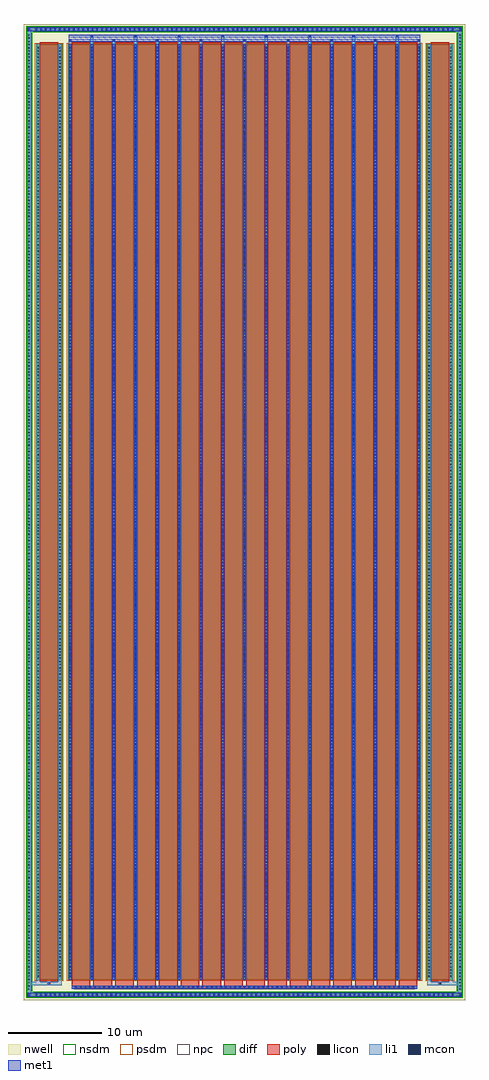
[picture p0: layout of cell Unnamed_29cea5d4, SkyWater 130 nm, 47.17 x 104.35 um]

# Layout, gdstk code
import gdstk
lib = gdstk.Library(unit=1e-6, precision=5e-09)
def R(c, l, rs):  # rectangles x0, y0, x1, y1
    for r in rs: c.add(gdstk.rectangle(r[:2], r[2:], *l))
def A(c, l, x, y, w, h, nx, ny, dx, dy):  # array of equal rectangles
    R(c, l, [(x+i*dx, y+j*dy, x+i*dx+w, y+j*dy+h) for i in range(nx) for j in range(ny)])
def P(c, l, *ps):  # polygons
    for p in ps: c.add(gdstk.Polygon(p, *l))
nwell = (64, 20)
diff = (65, 20)
poly = (66, 20)
licon = (66, 44)
li1 = (67, 20)
mcon = (67, 44)
met1 = (68, 20)
nsdm = (93, 44)
psdm = (94, 20)
npc = (95, 20)

unnamed_29cea5d4 = lib.new_cell('Unnamed_29cea5d4')
R(unnamed_29cea5d4, nwell, [(-23.585,-52.175,23.585,52.175), (-23.405,-51.995,23.405,51.995)])
A(unnamed_29cea5d4, diff, -22.455, -51.815, 0.41, 0.41, 90, 2, 0.5, 103.22)
A(unnamed_29cea5d4, diff, -23.225, -51.205, 0.41, 0.41, 1, 301, 0, 0.34)
A(unnamed_29cea5d4, diff, 22.815, -51.205, 0.41, 0.41, 1, 301, 0, 0.34)
R(unnamed_29cea5d4, diff, [(-22.455,-51.815,22.455,-51.405), (-23.225,-51.205,-22.815,51.205), (22.815,-51.205,23.225,51.205), (-22.285,-50,-19.505,50), (-18.865,-50,18.865,50), (19.505,-50,22.285,50), (-22.455,51.405,22.455,51.815)])
P(unnamed_29cea5d4, diff, [(23.225,51.815),(-23.225,51.815),(-23.225,-51.405),(-22.815,-51.405),(-22.815,51.405),(22.815,51.405),(22.815,-51.405),(-22.815,-51.405),(-23.225,-51.405),(-23.225,-51.815),(23.225,-51.815)])
A(unnamed_29cea5d4, poly, -18.165, -50.98, 0.33, 0.33, 73, 1, 0.5, 0)
A(unnamed_29cea5d4, poly, -18.475, -50.65, 2, 0.4, 16, 1, 2.33, 0)
A(unnamed_29cea5d4, poly, -18.475, -50.25, 2, 100.5, 16, 1, 2.33, 0)
R(unnamed_29cea5d4, poly, [(-18.475,-50.98,18.475,-50.65), (-21.06,-50.58,-20.73,-50.25), (-21.06,-50.58,-20.73,-50.25), (20.73,-50.58,21.06,-50.25), (20.73,-50.58,21.06,-50.25), (-21.895,-50.25,-19.895,50.25), (19.895,-50.25,21.895,50.25)])
A(unnamed_29cea5d4, licon, -22.335, -51.695, 0.17, 0.17, 90, 2, 0.5, 103.22)
A(unnamed_29cea5d4, licon, -23.105, -51.085, 0.17, 0.17, 1, 301, 0, 0.34)
A(unnamed_29cea5d4, licon, 22.935, -51.085, 0.17, 0.17, 1, 301, 0, 0.34)
A(unnamed_29cea5d4, licon, -18.085, -50.9, 0.17, 0.17, 73, 1, 0.5, 0)
A(unnamed_29cea5d4, licon, -22.145, -49.725, 0.17, 0.17, 1, 293, 0, 0.34)
A(unnamed_29cea5d4, licon, -19.815, -49.725, 0.17, 0.17, 1, 293, 0, 0.34)
A(unnamed_29cea5d4, licon, -18.725, -49.725, 0.17, 0.17, 17, 293, 2.33, 0.34)
A(unnamed_29cea5d4, licon, 19.645, -49.725, 0.17, 0.17, 1, 293, 0, 0.34)
A(unnamed_29cea5d4, licon, 21.975, -49.725, 0.17, 0.17, 1, 293, 0, 0.34)
R(unnamed_29cea5d4, licon, [(-20.98,-50.5,-20.81,-50.33), (20.81,-50.5,20.98,-50.33)])
A(unnamed_29cea5d4, li1, -22.415, -51.775, 0.33, 0.33, 90, 2, 0.5, 103.22)
A(unnamed_29cea5d4, li1, -23.185, -51.165, 0.33, 0.33, 1, 301, 0, 0.34)
A(unnamed_29cea5d4, li1, 22.855, -51.165, 0.33, 0.33, 1, 301, 0, 0.34)
A(unnamed_29cea5d4, li1, -18.165, -50.98, 0.33, 0.33, 73, 1, 0.5, 0)
A(unnamed_29cea5d4, li1, -18.805, -50, 0.33, 100, 17, 1, 2.33, 0)
A(unnamed_29cea5d4, li1, -22.225, -49.805, 0.33, 0.33, 1, 293, 0, 0.34)
A(unnamed_29cea5d4, li1, -19.895, -49.805, 0.33, 0.33, 1, 293, 0, 0.34)
A(unnamed_29cea5d4, li1, -18.805, -49.805, 0.33, 0.33, 17, 293, 2.33, 0.34)
A(unnamed_29cea5d4, li1, 19.565, -49.805, 0.33, 0.33, 1, 293, 0, 0.34)
A(unnamed_29cea5d4, li1, 21.895, -49.805, 0.33, 0.33, 1, 293, 0, 0.34)
A(unnamed_29cea5d4, li1, -18.725, -49.765, 0.17, 0.17, 17, 277, 2.33, 0.36)
A(unnamed_29cea5d4, li1, -18.725, -49.765, 0.17, 99.53, 17, 1, 2.33, 0)
A(unnamed_29cea5d4, li1, -18.805, 50, 0.33, 0.515, 9, 1, 4.66, 0)
A(unnamed_29cea5d4, li1, -16.475, 50, 0.33, 0.945, 8, 1, 4.66, 0)
A(unnamed_29cea5d4, li1, -18.725, 50.345, 0.17, 0.17, 9, 1, 4.66, 0)
A(unnamed_29cea5d4, li1, -16.395, 50.775, 0.17, 0.17, 8, 1, 4.66, 0)
R(unnamed_29cea5d4, li1, [(-23.225,-51.815,-22.815,-51.405), (22.815,-51.815,23.225,-51.405), (-22.415,-51.775,22.415,-51.445), (-23.105,-51.695,-22.935,-51.525), (-23.105,-51.695,-22.935,-51.525), (22.935,-51.695,23.105,-51.525), (22.935,-51.695,23.105,-51.525), (-23.225,-51.405,-22.815,51.405), (22.815,-51.405,23.225,51.405), (-23.225,-50.58,-21.06,-50.25), (-22.225,-50.58,-21.06,-50.25), (-22.225,-50.58,-21.895,-50), (-21.06,-50.58,-20.73,-50.25), (-20.73,-50.58,-19.565,-50.25), (-19.895,-50.58,-19.565,-50), (19.565,-50.58,20.73,-50.25), (19.565,-50.58,19.895,-50), (20.73,-50.58,21.06,-50.25), (20.73,-50.58,23.225,-50.25), (21.06,-50.58,22.225,-50.25), (21.895,-50.58,22.225,-50), (-22.225,-50,-21.895,50), (-19.895,-50,-19.565,50), (19.565,-50,19.895,50), (21.895,-50,22.225,50), (-23.225,51.405,-22.815,51.815), (22.815,51.405,23.225,51.815), (-22.415,51.445,22.415,51.775), (-23.105,51.525,-22.935,51.695), (-23.105,51.525,-22.935,51.695), (22.935,51.525,23.105,51.695), (22.935,51.525,23.105,51.695)])
A(unnamed_29cea5d4, mcon, -22.335, -51.695, 0.17, 0.17, 90, 2, 0.5, 103.22)
A(unnamed_29cea5d4, mcon, -18.085, -50.9, 0.17, 0.17, 73, 1, 0.5, 0)
A(unnamed_29cea5d4, mcon, -18.725, -49.765, 0.17, 0.17, 17, 277, 2.33, 0.36)
A(unnamed_29cea5d4, mcon, -18.725, 50.345, 0.17, 0.17, 9, 1, 4.66, 0)
A(unnamed_29cea5d4, mcon, -16.395, 50.775, 0.17, 0.17, 8, 1, 4.66, 0)
R(unnamed_29cea5d4, mcon, [(-23.105,-51.695,-22.935,-51.525), (22.935,-51.695,23.105,-51.525), (-23.105,51.525,-22.935,51.695), (22.935,51.525,23.105,51.695)])
A(unnamed_29cea5d4, met1, -22.395, -51.755, 0.29, 0.29, 90, 2, 0.5, 103.22)
A(unnamed_29cea5d4, met1, -18.145, -50.96, 0.29, 0.29, 73, 1, 0.5, 0)
A(unnamed_29cea5d4, met1, -18.785, -50, 0.29, 100, 17, 1, 2.33, 0)
A(unnamed_29cea5d4, met1, -18.785, -49.825, 0.29, 0.29, 17, 277, 2.33, 0.36)
A(unnamed_29cea5d4, met1, -18.785, 50.285, 0.29, 0.29, 9, 1, 4.66, 0)
A(unnamed_29cea5d4, met1, -16.455, 50.715, 0.29, 0.29, 8, 1, 4.66, 0)
R(unnamed_29cea5d4, met1, [(-23.225,-51.815,-22.815,-51.405), (-23.225,-51.815,-22.815,-51.405), (-22.815,-51.815,22.815,-51.405), (22.815,-51.815,23.225,-51.405), (22.815,-51.815,23.225,-51.405), (-23.165,-51.755,-22.875,-51.465), (22.875,-51.755,23.165,-51.465), (-18.475,-50.98,18.475,-50.65), (-18.785,50.285,18.785,50.575), (-18.785,50.715,18.785,51.005), (-23.225,51.405,-22.815,51.815), (-23.225,51.405,-22.815,51.815), (-22.815,51.405,22.815,51.815), (22.815,51.405,23.225,51.815), (22.815,51.405,23.225,51.815), (-23.165,51.465,-22.875,51.755), (22.875,51.465,23.165,51.755)])
P(unnamed_29cea5d4, nsdm, [(23.355,51.945),(-23.355,51.945),(-23.355,-51.275),(-22.685,-51.275),(-22.685,51.275),(22.685,51.275),(22.685,-51.275),(-22.685,-51.275),(-23.355,-51.275),(-23.355,-51.945),(23.355,-51.945)])
R(unnamed_29cea5d4, psdm, [(-22.415,-50.13,-19.375,50.13), (-18.995,-50.13,18.995,50.13), (19.375,-50.13,22.415,50.13)])
A(unnamed_29cea5d4, npc, -18.185, -51, 0.37, 0.37, 73, 1, 0.5, 0)
R(unnamed_29cea5d4, npc, [(-18.185,-51,-17.315,-50.63), (-18.185,-51,-17.315,-50.63), (-17.685,-51,-16.815,-50.63), (-17.685,-51,-16.815,-50.63), (-17.185,-51,-16.315,-50.63), (-17.185,-51,-16.315,-50.63), (-16.685,-51,-15.815,-50.63), (-16.685,-51,-15.815,-50.63), (-16.185,-51,-15.315,-50.63), (-16.185,-51,-15.315,-50.63), (-15.685,-51,-14.815,-50.63), (-15.685,-51,-14.815,-50.63), (-15.185,-51,-14.315,-50.63), (-15.185,-51,-14.315,-50.63), (-14.685,-51,-13.815,-50.63), (-14.685,-51,-13.815,-50.63), (-14.185,-51,-13.315,-50.63), (-14.185,-51,-13.315,-50.63), (-13.685,-51,-12.815,-50.63), (-13.685,-51,-12.815,-50.63), (-13.185,-51,-12.315,-50.63), (-13.185,-51,-12.315,-50.63), (-12.685,-51,-11.815,-50.63), (-12.685,-51,-11.815,-50.63), (-12.185,-51,-11.315,-50.63), (-12.185,-51,-11.315,-50.63), (-11.685,-51,-10.815,-50.63), (-11.685,-51,-10.815,-50.63), (-11.185,-51,-10.315,-50.63), (-11.185,-51,-10.315,-50.63), (-10.685,-51,-9.815,-50.63), (-10.685,-51,-9.815,-50.63), (-10.185,-51,-9.315,-50.63), (-10.185,-51,-9.315,-50.63), (-9.685,-51,-8.815,-50.63), (-9.685,-51,-8.815,-50.63), (-9.185,-51,-8.315,-50.63), (-9.185,-51,-8.315,-50.63), (-8.685,-51,-7.815,-50.63), (-8.685,-51,-7.815,-50.63), (-8.185,-51,-7.315,-50.63), (-8.185,-51,-7.315,-50.63), (-7.685,-51,-6.815,-50.63), (-7.685,-51,-6.815,-50.63), (-7.185,-51,-6.315,-50.63), (-7.185,-51,-6.315,-50.63), (-6.685,-51,-5.815,-50.63), (-6.685,-51,-5.815,-50.63), (-6.185,-51,-5.315,-50.63), (-6.185,-51,-5.315,-50.63), (-5.685,-51,-4.815,-50.63), (-5.685,-51,-4.815,-50.63), (-5.185,-51,-4.315,-50.63), (-5.185,-51,-4.315,-50.63), (-4.685,-51,-3.815,-50.63), (-4.685,-51,-3.815,-50.63), (-4.185,-51,-3.315,-50.63), (-4.185,-51,-3.315,-50.63), (-3.685,-51,-2.815,-50.63), (-3.685,-51,-2.815,-50.63), (-3.185,-51,-2.315,-50.63), (-3.185,-51,-2.315,-50.63), (-2.685,-51,-1.815,-50.63), (-2.685,-51,-1.815,-50.63), (-2.185,-51,-1.315,-50.63), (-2.185,-51,-1.315,-50.63), (-1.685,-51,-0.815,-50.63), (-1.685,-51,-0.815,-50.63), (-1.185,-51,-0.315,-50.63), (-1.185,-51,-0.315,-50.63), (-0.685,-51,0.185,-50.63), (-0.685,-51,0.185,-50.63), (-0.185,-51,0.685,-50.63), (-0.185,-51,0.685,-50.63), (0.315,-51,1.185,-50.63), (0.315,-51,1.185,-50.63), (0.815,-51,1.685,-50.63), (0.815,-51,1.685,-50.63), (1.315,-51,2.185,-50.63), (1.315,-51,2.185,-50.63), (1.815,-51,2.685,-50.63), (1.815,-51,2.685,-50.63), (2.315,-51,3.185,-50.63), (2.315,-51,3.185,-50.63), (2.815,-51,3.685,-50.63), (2.815,-51,3.685,-50.63), (3.315,-51,4.185,-50.63), (3.315,-51,4.185,-50.63), (3.815,-51,4.685,-50.63), (3.815,-51,4.685,-50.63), (4.315,-51,5.185,-50.63), (4.315,-51,5.185,-50.63), (4.815,-51,5.685,-50.63), (4.815,-51,5.685,-50.63), (5.315,-51,6.185,-50.63), (5.315,-51,6.185,-50.63), (5.815,-51,6.685,-50.63), (5.815,-51,6.685,-50.63), (6.315,-51,7.185,-50.63), (6.315,-51,7.185,-50.63), (6.815,-51,7.685,-50.63), (6.815,-51,7.685,-50.63), (7.315,-51,8.185,-50.63), (7.315,-51,8.185,-50.63), (7.815,-51,8.685,-50.63), (7.815,-51,8.685,-50.63), (8.315,-51,9.185,-50.63), (8.315,-51,9.185,-50.63), (8.815,-51,9.685,-50.63), (8.815,-51,9.685,-50.63), (9.315,-51,10.185,-50.63), (9.315,-51,10.185,-50.63), (9.815,-51,10.685,-50.63), (9.815,-51,10.685,-50.63), (10.315,-51,11.185,-50.63), (10.315,-51,11.185,-50.63), (10.815,-51,11.685,-50.63), (10.815,-51,11.685,-50.63), (11.315,-51,12.185,-50.63), (11.315,-51,12.185,-50.63), (11.815,-51,12.685,-50.63), (11.815,-51,12.685,-50.63), (12.315,-51,13.185,-50.63), (12.315,-51,13.185,-50.63), (12.815,-51,13.685,-50.63), (12.815,-51,13.685,-50.63), (13.315,-51,14.185,-50.63), (13.315,-51,14.185,-50.63), (13.815,-51,14.685,-50.63), (13.815,-51,14.685,-50.63), (14.315,-51,15.185,-50.63), (14.315,-51,15.185,-50.63), (14.815,-51,15.685,-50.63), (14.815,-51,15.685,-50.63), (15.315,-51,16.185,-50.63), (15.315,-51,16.185,-50.63), (15.815,-51,16.685,-50.63), (15.815,-51,16.685,-50.63), (16.315,-51,17.185,-50.63), (16.315,-51,17.185,-50.63), (16.815,-51,17.685,-50.63), (16.815,-51,17.685,-50.63), (17.315,-51,18.185,-50.63), (17.315,-51,18.185,-50.63), (-21.08,-50.6,-20.71,-50.23), (20.71,-50.6,21.08,-50.23)])

lib.write_gds('Unnamed_29cea5d4.gds')
